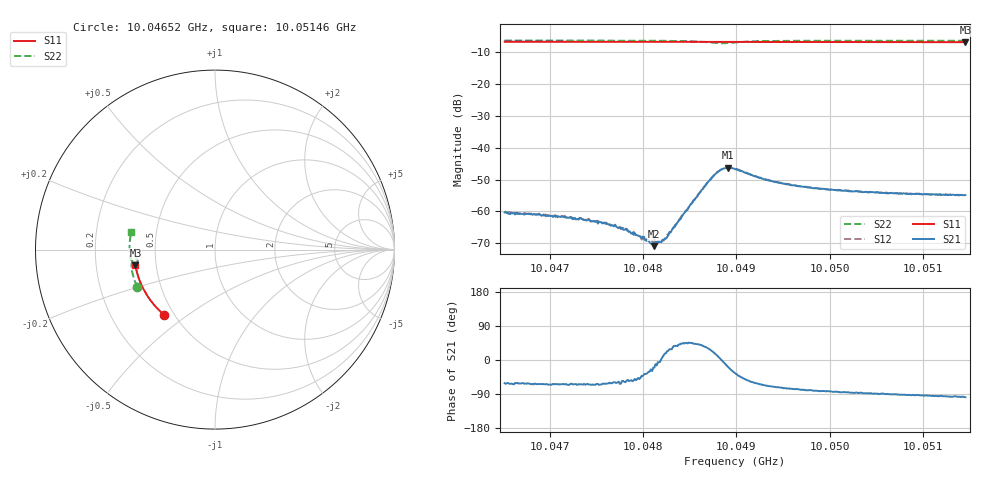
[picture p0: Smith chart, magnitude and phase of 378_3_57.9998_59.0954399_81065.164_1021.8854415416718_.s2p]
#  HZ  S  RI  R  50.00
! Rohde & Schwarz Vector Network Analyzer
! Rohde-Schwarz,ZNB20-2Port,1311601062101988,3.16
! Created: UTC 3/21/2024, 1:07:13 AM
! freq[Hz]  re:S11  im:S11  re:S21  im:S21  re:S12  im:S12  re:S22  im:S22
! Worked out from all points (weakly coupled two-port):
!   401 points, 10.04652 GHz to 10.05146 GHz, reference 50 ohm
!   highest |S21| = -46.31 dB at 10.04891 GHz (marker M1); lowest = -70.9 dB at 10.04812 GHz (marker M2)
!   lowest |S11| = -6.9 dB at 10.05146 GHz (marker M3), VSWR 2.65, Z = 19 - j4.17 ohm
!   |S11| at or under -10 dB: nowhere
!   |S22| runs from -7.2 to -6.4 dB; largest |S21 - S12| = 0.00033
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1.0046517e10  -0.2844 -0.3624  0.000465 -0.000842  0.000552 -0.000842  -0.4333 -0.2082
1.0046912e10  -0.3039 -0.3451  0.000383 -0.000765  0.000465 -0.000765  -0.4436 -0.1836
1.0047344e10  -0.3241 -0.3249  0.000329 -0.000682  0.000365 -0.000672  -0.4531 -0.1557
1.0047554e10  -0.3336 -0.3148  0.000283 -0.00061  0.00033 -0.00059  -0.4573 -0.1416
1.0047727e10  -0.3409 -0.306  0.00029 -0.000481  0.000302 -0.000497  -0.4601 -0.1297
1.0047789e10  -0.3433 -0.3028  0.000292 -0.000426  0.000303 -0.000456  -0.4611 -0.1253
1.0047986e10  -0.3517 -0.2926  0.000282 -0.000254  0.000267 -0.000244  -0.4636 -0.111
1.0048098e10  -0.3561 -0.287  0.000268 -0.00015  0.000321 -0.000118  -0.4647 -0.1025
1.0048122e10  -0.3572 -0.2857  0.000268 -9.66e-05  0.00035 -8.9e-05  -0.4649 -0.1007
1.0048172e10  -0.3589 -0.283  0.000326 -3.42e-05  0.000357 -1.54e-05  -0.4652 -0.0968
1.0048221e10  -0.361 -0.2804  0.000355 7.26e-05  0.000336 9.35e-05  -0.4655 -0.0927
1.004827e10  -0.3629 -0.2779  0.000385 0.000171  0.000371 0.000202  -0.4654 -0.0887
1.004832e10  -0.3648 -0.2752  0.000451 0.000301  0.000446 0.000297  -0.4653 -0.0844
1.0048616e10  -0.3756 -0.2589  0.00156 0.0013  0.00148 0.0014  -0.4558 -0.057
1.0048764e10  -0.3806 -0.2507  0.00349 0.00119  0.00344 0.0014  -0.4383 -0.0515
1.0048838e10  -0.3832 -0.2466  0.00451 5.72e-05  0.00452 0.000348  -0.4307 -0.0587
1.0048912e10  -0.3856 -0.2425  0.00459 -0.00154  0.00469 -0.00126  -0.4326 -0.0694
1.0048986e10  -0.3881 -0.2385  0.00379 -0.00263  0.00401 -0.00241  -0.4421 -0.0743
1.0049332e10  -0.3992 -0.2186  0.00114 -0.00287  0.00137 -0.00283  -0.4695 -0.0506
1.0049814e10  -0.4129 -0.19  0.000386 -0.00229  0.000533 -0.00229  -0.4761 -0.0124
1.0050641e10  -0.4314 -0.1391  -2.36e-05 -0.00193  0.000104 -0.00193  -0.4745 0.0456
1.0051455e10  -0.4434 -0.0872  -0.000255 -0.00179  -0.000153 -0.00181  -0.4658 0.0995
